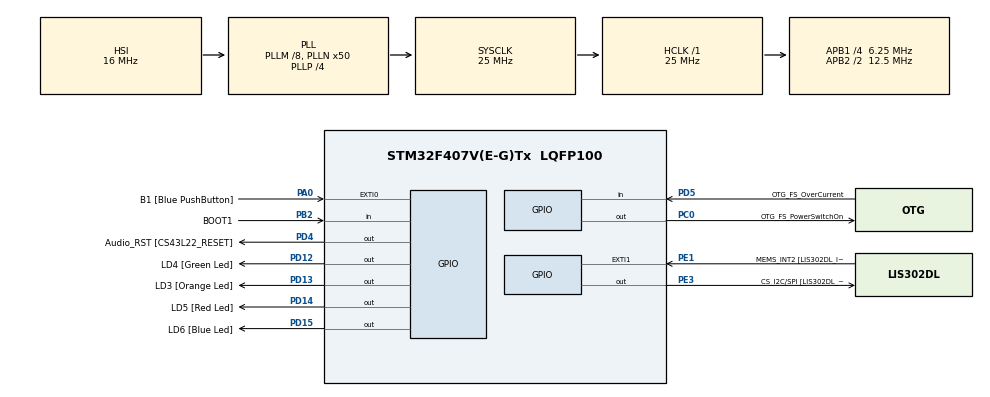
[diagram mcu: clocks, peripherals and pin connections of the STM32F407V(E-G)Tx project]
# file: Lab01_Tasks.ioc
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Mcu.Family=STM32F4
PA11.GPIO_Speed=GPIO_SPEED_FREQ_LOW
PC3.GPIO_Mode=GPIO_MODE_AF_PP
PD12.GPIO_Label=LD4 [Green Led]
PH0-OSC_IN.Signal=RCC_OSC_IN
VP_SYS_VS_tim6.Mode=TIM6
RCC.CortexFreq_Value=25000000
PC10.GPIO_PuPd=GPIO_NOPULL
PB10.GPIO_Speed=GPIO_SPEED_FREQ_LOW
PB6.GPIO_Mode=GPIO_MODE_AF_OD
PB10.GPIO_PuPd=GPIO_NOPULL
NVIC.TIM6_DAC_IRQn=true\:0\:0\:false\:false\:true\:false\:true
PA10.GPIO_PuPd=GPIO_NOPULL
PD15.GPIO_Speed=GPIO_SPEED_FREQ_LOW
PC10.Signal=I2S3_CK
PC12.Signal=I2S3_SD
PA14.GPIO_Label=SWCLK
PA7.GPIO_Mode=GPIO_MODE_AF_PP
PC0.GPIO_Label=OTG_FS_PowerSwitchOn
PA6.GPIO_Label=SPI1_MISO [LIS302DL_SDO]
PB6.GPIO_Label=Audio_SCL [CS43L22_SCL]
PC10.GPIO_Speed=GPIO_SPEED_FREQ_LOW
PA11.GPIO_PuPd=GPIO_NOPULL
PC15-OSC32_OUT.GPIO_Label=PC15-OSC32_OUT
PC3.GPIO_Speed=GPIO_SPEED_FREQ_LOW
RCC.SYSCLKSource=RCC_SYSCLKSOURCE_PLLCLK
ProjectManager.StackSize=0x400
PA6.GPIO_Mode=GPIO_MODE_AF_PP
PD13.Signal=GPIO_Output
PD14.GPIO_Speed=GPIO_SPEED_FREQ_LOW
PA12.Signal=USB_OTG_FS_DP
RCC.HCLKFreq_Value=25000000
PD4.Signal=GPIO_Output
RCC.APB2TimFreq_Value=25000000
PB6.Signal=I2C1_SCL
PC7.Signal=I2S3_MCK
PC3.Signal=I2S2_SD
PE1.Signal=GPXTI1
RCC.AHBFreq_Value=25000000
PH0-OSC_IN.GPIO_Label=PH0-OSC_IN
PA9.GPIO_Mode=GPIO_MODE_INPUT
RCC.HSE_VALUE=8000000
PA4.GPIO_PuPd=GPIO_NOPULL
PB2.Signal=GPIO_Input
PA4.GPIO_Speed=GPIO_SPEED_FREQ_LOW
PA6.GPIO_PuPd=GPIO_NOPULL
PA5.GPIO_PuPd=GPIO_NOPULL
PA10.GPIO_Label=OTG_FS_ID
PC7.GPIO_Mode=GPIO_MODE_AF_PP
PD5.GPIO_Mode=GPIO_MODE_INPUT
PD14.GPIO_PuPd=GPIO_NOPULL
PB2.GPIO_PuPd=GPIO_NOPULL
PD13.GPIO_Label=LD3 [Orange Led]
Mcu.Package=LQFP100
PB9.Signal=I2C1_SDA
PA6.Signal=SPI1_MISO
NVIC.TimeBase=TIM6_DAC_IRQn
PD12.Signal=GPIO_Output
PD5.GPIO_Label=OTG_FS_OverCurrent
PD15.GPIO_PuPd=GPIO_NOPULL
NVIC.TimeBaseIP=TIM6
PA10.Signal=USB_OTG_FS_ID
PB9.GPIO_PuPd=GPIO_NOPULL
PA10.GPIO_Speed=GPIO_SPEED_FREQ_LOW
RCC.APB2CLKDivider=RCC_HCLK_DIV2
PB9.GPIO_Speed=GPIO_SPEED_FREQ_LOW
RCC.APB1TimFreq_Value=12500000
PC14-OSC32_IN.GPIO_Label=PC14-OSC32_IN
PC12.GPIO_PuPd=GPIO_NOPULL
PA6.GPIO_Speed=GPIO_SPEED_FREQ_LOW
PC0.GPIO_PuPd=GPIO_NOPULL
PA12.GPIO_PuPd=GPIO_NOPULL
PA4.GPIO_Label=I2S3_WS [CS43L22_LRCK]
PD15.Signal=GPIO_Output
PC0.PinState=GPIO_PIN_SET
PA12.GPIO_Speed=GPIO_SPEED_FREQ_LOW
PB3.GPIO_Label=SWO
PD12.GPIO_Speed=GPIO_SPEED_FREQ_LOW
PD15.GPIO_Label=LD6 [Blue Led]
PB9.GPIO_Label=Audio_SDA [CS43L22_SDA]
PC10.GPIO_Label=I2S3_SCK [CS43L22_SCLK]
PA9.GPIO_Label=VBUS_FS
PB6.GPIO_PuPd=GPIO_NOPULL
PA11.GPIO_Label=OTG_FS_DM
PE1.GPIO_PuPd=GPIO_NOPULL
PD5.Signal=GPIO_Input
PC0.Signal=GPIO_Output
PE1.GPIO_ModeDefaultEXTI=GPIO_MODE_EVT_RISING
RCC.APB1CLKDivider=RCC_HCLK_DIV4
PC14-OSC32_IN.Signal=RCC_OSC32_IN
PA9.GPIO_PuPd=GPIO_NOPULL
PA12.GPIO_Label=OTG_FS_DP
PA0-WKUP.GPIO_Label=B1 [Blue PushButton]
PA0-WKUP.Signal=GPXTI0
PA10.GPIO_Mode=GPIO_MODE_AF_PP
PA13.Signal=SYS_JTMS-SWDIO
PC10.GPIO_Mode=GPIO_MODE_AF_PP
PD4.GPIO_PuPd=GPIO_NOPULL
PC0.GPIO_Speed=GPIO_SPEED_FREQ_LOW
PB10.GPIO_Mode=GPIO_MODE_AF_PP
ProjectManager.TargetToolchain=STM32CubeIDE
PB10.GPIO_Label=CLK_IN [MP45DT02_CLK]
PA9.Signal=USB_OTG_FS_VBUS
PC7.GPIO_PuPd=GPIO_NOPULL
RCC.LSE_VALUE=32768
PC15-OSC32_OUT.Signal=RCC_OSC32_OUT
PA7.GPIO_PuPd=GPIO_NOPULL
PB10.Signal=I2S2_CK
PA5.Signal=SPI1_SCK
board=STM32F407G-DISC1
PD13.GPIO_Speed=GPIO_SPEED_FREQ_LOW
PC7.GPIO_Speed=GPIO_SPEED_FREQ_LOW
RCC.VCOOutputFreq_Value=100000000
PE1.GPIO_Label=MEMS_INT2 [LIS302DL_INT2]
PA7.GPIO_Speed=GPIO_SPEED_FREQ_LOW
PB9.GPIO_Mode=GPIO_MODE_AF_OD
PA12.GPIO_Mode=GPIO_MODE_AF_PP
PA4.GPIO_Mode=GPIO_MODE_AF_PP
RCC.APB2Freq_Value=12500000
PB2.GPIO_Mode=GPIO_MODE_INPUT
PD4.GPIO_Label=Audio_RST [CS43L22_RESET]
PD4.GPIO_Speed=GPIO_SPEED_FREQ_LOW
PE3.GPIO_PuPd=GPIO_NOPULL
PH1-OSC_OUT.Signal=RCC_OSC_OUT
PD13.GPIO_PuPd=GPIO_NOPULL
PD5.GPIO_PuPd=GPIO_NOPULL
PD14.GPIO_Label=LD5 [Red Led]
PH1-OSC_OUT.GPIO_Label=PH1-OSC_OUT
Mcu.Name=STM32F407V(E-G)Tx
PA13.GPIO_Label=SWDIO
PC7.GPIO_Label=I2S3_MCK [CS43L22_MCLK]
PD14.Signal=GPIO_Output
RCC.48MHZClocksFreq_Value=14285714.285714285
PB3.Signal=SYS_JTDO-SWO
PA4.Signal=I2S3_WS
RCC.SYSCLKFreq_VALUE=25000000
PC12.GPIO_Mode=GPIO_MODE_AF_PP
PA7.GPIO_Label=SPI1_MOSI [LIS302DL_SDA/SDI/SDO]
PA5.GPIO_Label=SPI1_SCK [LIS302DL_SCL/SPC]
PE3.GPIO_Speed=GPIO_SPEED_FREQ_LOW
PC12.GPIO_Label=I2S3_SD [CS43L22_SDIN]
PA11.Signal=USB_OTG_FS_DM
PA14.Signal=SYS_JTCK-SWCLK
PB2.GPIO_Label=BOOT1
ProjectManager.HeapSize=0x200
RCC.HSI_VALUE=16000000
RCC.PLLP=RCC_PLLP_DIV4
PA5.GPIO_Speed=GPIO_SPEED_FREQ_LOW
RCC.PLLQ=7
NVIC.PriorityGroup=NVIC_PRIORITYGROUP_4
RCC.PLLM=8
RCC.PLLN=50
PE3.Signal=GPIO_Output
PE3.GPIO_Label=CS_I2C/SPI [LIS302DL_CS_I2C/SPI]
PC3.GPIO_Label=PDM_OUT [MP45DT02_DOUT]
PA11.GPIO_Mode=GPIO_MODE_AF_PP
PB6.GPIO_Speed=GPIO_SPEED_FREQ_LOW
RCC.APB1Freq_Value=6250000
PA5.GPIO_Mode=GPIO_MODE_AF_PP
PC12.GPIO_Speed=GPIO_SPEED_FREQ_LOW
PC3.GPIO_PuPd=GPIO_NOPULL
PD12.GPIO_PuPd=GPIO_NOPULL
PA7.Signal=SPI1_MOSI

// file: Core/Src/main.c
/* USER CODE BEGIN Header */
/**
  ******************************************************************************
  * @file           : main.c
  * @brief          : Main program body
  ******************************************************************************
  * @attention
  *
  * <h2><center>&copy; Copyright (c) 2021 STMicroelectronics.
  * All rights reserved.</center></h2>
  *
  * This software component is licensed by ST under BSD 3-Clause license,
  * the "License"; You may not use this file except in compliance with the
  * License. You may obtain a copy of the License at:
  *                        opensource.org/licenses/BSD-3-Clause
  *
  ******************************************************************************
  */
/* USER CODE END Header */
#include "main.h"

/* USER CODE BEGIN Includes */
#include <stdio.h>
#include "FreeRTOS.h"
#include "task.h"
/* USER CODE END Includes */

/* USER CODE BEGIN PV */
#define DWT_CTRL	(*(volatile uint32_t *)0xE0001000)
/* USER CODE END PV */

void SystemClock_Config(void);
static void MX_GPIO_Init(void);
/* USER CODE BEGIN PFP */
static void task1_handler(void *parameter);
static void task2_handler(void *parameter);
/* USER CODE END PFP */

int main(void)
{
  /* USER CODE BEGIN 1 */
  TaskHandle_t task1_handle;
  TaskHandle_t task2_handle;

  BaseType_t status;
  /* USER CODE END 1 */

  /* MCU Configuration--------------------------------------------------------*/

  /* Reset of all peripherals, Initializes the Flash interface and the Systick. */
  HAL_Init();

  /* Configure the system clock */
  SystemClock_Config();

  /* Initialize all configured peripherals */
  MX_GPIO_Init();
  /* USER CODE BEGIN 2 */

  // Enable the CYCCNT counter
  DWT_CTRL |= (1 << 0);

  SEGGER_SYSVIEW_Conf();
  SEGGER_SYSVIEW_Start();

  status = xTaskCreate(task1_handler, "Task1", 200, "Hello world form Task-1", 2, &task1_handle);
  configASSERT(status == pdPASS);

  status = xTaskCreate(task2_handler, "Task2", 200, "Hello world form Task-2", 2, &task2_handle);
  configASSERT(status == pdPASS);

  //start the freeRTOS scheduler
  vTaskStartScheduler();
  /* USER CODE END 2 */

  /* Infinite loop */
  while (1)
  {

  }
}

void SystemClock_Config(void)
{
  RCC_OscInitTypeDef RCC_OscInitStruct = {0};
  RCC_ClkInitTypeDef RCC_ClkInitStruct = {0};

  /** Configure the main internal regulator output voltage
  */
  __HAL_RCC_PWR_CLK_ENABLE();
  __HAL_PWR_VOLTAGESCALING_CONFIG(PWR_REGULATOR_VOLTAGE_SCALE1);
  /** Initializes the RCC Oscillators according to the specified parameters
  * in the RCC_OscInitTypeDef structure.
  */
  RCC_OscInitStruct.OscillatorType = RCC_OSCILLATORTYPE_HSI;
  RCC_OscInitStruct.HSIState = RCC_HSI_ON;
  RCC_OscInitStruct.HSICalibrationValue = RCC_HSICALIBRATION_DEFAULT;
  RCC_OscInitStruct.PLL.PLLState = RCC_PLL_ON;
  RCC_OscInitStruct.PLL.PLLSource = RCC_PLLSOURCE_HSI;
  RCC_OscInitStruct.PLL.PLLM = 8;
  RCC_OscInitStruct.PLL.PLLN = 50;
  RCC_OscInitStruct.PLL.PLLP = RCC_PLLP_DIV4;
  RCC_OscInitStruct.PLL.PLLQ = 7;
  if (HAL_RCC_OscConfig(&RCC_OscInitStruct) != HAL_OK)
  {
    Error_Handler();
  }
  /** Initializes the CPU, AHB and APB buses clocks
  */
  RCC_ClkInitStruct.ClockType = RCC_CLOCKTYPE_HCLK|RCC_CLOCKTYPE_SYSCLK
                              |RCC_CLOCKTYPE_PCLK1|RCC_CLOCKTYPE_PCLK2;
  RCC_ClkInitStruct.SYSCLKSource = RCC_SYSCLKSOURCE_PLLCLK;
  RCC_ClkInitStruct.AHBCLKDivider = RCC_SYSCLK_DIV1;
  RCC_ClkInitStruct.APB1CLKDivider = RCC_HCLK_DIV4;
  RCC_ClkInitStruct.APB2CLKDivider = RCC_HCLK_DIV2;

  if (HAL_RCC_ClockConfig(&RCC_ClkInitStruct, FLASH_LATENCY_0) != HAL_OK)
  {
    Error_Handler();
  }
}

static void MX_GPIO_Init(void)
{
  GPIO_InitTypeDef GPIO_InitStruct = {0};

  /* GPIO Ports Clock Enable */
  __HAL_RCC_GPIOE_CLK_ENABLE();
  __HAL_RCC_GPIOC_CLK_ENABLE();
  __HAL_RCC_GPIOH_CLK_ENABLE();
  __HAL_RCC_GPIOA_CLK_ENABLE();
  __HAL_RCC_GPIOB_CLK_ENABLE();
  __HAL_RCC_GPIOD_CLK_ENABLE();

  /*Configure GPIO pin Output Level */
  HAL_GPIO_WritePin(CS_I2C_SPI_GPIO_Port, CS_I2C_SPI_Pin, GPIO_PIN_RESET);

  /*Configure GPIO pin Output Level */
  HAL_GPIO_WritePin(OTG_FS_PowerSwitchOn_GPIO_Port, OTG_FS_PowerSwitchOn_Pin, GPIO_PIN_SET);

  /*Configure GPIO pin Output Level */
  HAL_GPIO_WritePin(GPIOD, LD4_Pin|LD3_Pin|LD5_Pin|LD6_Pin
                          |Audio_RST_Pin, GPIO_PIN_RESET);

  /*Configure GPIO pin : CS_I2C_SPI_Pin */
  GPIO_InitStruct.Pin = CS_I2C_SPI_Pin;
  GPIO_InitStruct.Mode = GPIO_MODE_OUTPUT_PP;
  GPIO_InitStruct.Pull = GPIO_NOPULL;
  GPIO_InitStruct.Speed = GPIO_SPEED_FREQ_LOW;
  HAL_GPIO_Init(CS_I2C_SPI_GPIO_Port, &GPIO_InitStruct);

  /*Configure GPIO pin : OTG_FS_PowerSwitchOn_Pin */
  GPIO_InitStruct.Pin = OTG_FS_PowerSwitchOn_Pin;
  GPIO_InitStruct.Mode = GPIO_MODE_OUTPUT_PP;
  GPIO_InitStruct.Pull = GPIO_NOPULL;
  GPIO_InitStruct.Speed = GPIO_SPEED_FREQ_LOW;
  HAL_GPIO_Init(OTG_FS_PowerSwitchOn_GPIO_Port, &GPIO_InitStruct);

  /*Configure GPIO pin : PDM_OUT_Pin */
  GPIO_InitStruct.Pin = PDM_OUT_Pin;
  GPIO_InitStruct.Mode = GPIO_MODE_AF_PP;
  GPIO_InitStruct.Pull = GPIO_NOPULL;
  GPIO_InitStruct.Speed = GPIO_SPEED_FREQ_LOW;
  GPIO_InitStruct.Alternate = GPIO_AF5_SPI2;
  HAL_GPIO_Init(PDM_OUT_GPIO_Port, &GPIO_InitStruct);

  /*Configure GPIO pin : B1_Pin */
  GPIO_InitStruct.Pin = B1_Pin;
  GPIO_InitStruct.Mode = GPIO_MODE_IT_RISING;
  GPIO_InitStruct.Pull = GPIO_NOPULL;
  HAL_GPIO_Init(B1_GPIO_Port, &GPIO_InitStruct);

  /*Configure GPIO pin : I2S3_WS_Pin */
  GPIO_InitStruct.Pin = I2S3_WS_Pin;
  GPIO_InitStruct.Mode = GPIO_MODE_AF_PP;
  GPIO_InitStruct.Pull = GPIO_NOPULL;
  GPIO_InitStruct.Speed = GPIO_SPEED_FREQ_LOW;
  GPIO_InitStruct.Alternate = GPIO_AF6_SPI3;
  HAL_GPIO_Init(I2S3_WS_GPIO_Port, &GPIO_InitStruct);

  /*Configure GPIO pins : SPI1_SCK_Pin SPI1_MISO_Pin SPI1_MOSI_Pin */
  GPIO_InitStruct.Pin = SPI1_SCK_Pin|SPI1_MISO_Pin|SPI1_MOSI_Pin;
  GPIO_InitStruct.Mode = GPIO_MODE_AF_PP;
  GPIO_InitStruct.Pull = GPIO_NOPULL;
  GPIO_InitStruct.Speed = GPIO_SPEED_FREQ_LOW;
  GPIO_InitStruct.Alternate = GPIO_AF5_SPI1;
  HAL_GPIO_Init(GPIOA, &GPIO_InitStruct);

  /*Configure GPIO pin : BOOT1_Pin */
  GPIO_InitStruct.Pin = BOOT1_Pin;
  GPIO_InitStruct.Mode = GPIO_MODE_INPUT;
  GPIO_InitStruct.Pull = GPIO_NOPULL;
  HAL_GPIO_Init(BOOT1_GPIO_Port, &GPIO_InitStruct);

  /*Configure GPIO pin : CLK_IN_Pin */
  GPIO_InitStruct.Pin = CLK_IN_Pin;
  GPIO_InitStruct.Mode = GPIO_MODE_AF_PP;
  GPIO_InitStruct.Pull = GPIO_NOPULL;
  GPIO_InitStruct.Speed = GPIO_SPEED_FREQ_LOW;
  GPIO_InitStruct.Alternate = GPIO_AF5_SPI2;
  HAL_GPIO_Init(CLK_IN_GPIO_Port, &GPIO_InitStruct);

  /*Configure GPIO pins : LD4_Pin LD3_Pin LD5_Pin LD6_Pin
                           Audio_RST_Pin */
  GPIO_InitStruct.Pin = LD4_Pin|LD3_Pin|LD5_Pin|LD6_Pin
                          |Audio_RST_Pin;
  GPIO_InitStruct.Mode = GPIO_MODE_OUTPUT_PP;
  GPIO_InitStruct.Pull = GPIO_NOPULL;
  GPIO_InitStruct.Speed = GPIO_SPEED_FREQ_LOW;
  HAL_GPIO_Init(GPIOD, &GPIO_InitStruct);

  /*Configure GPIO pins : I2S3_MCK_Pin I2S3_SCK_Pin I2S3_SD_Pin */
  GPIO_InitStruct.Pin = I2S3_MCK_Pin|I2S3_SCK_Pin|I2S3_SD_Pin;
  GPIO_InitStruct.Mode = GPIO_MODE_AF_PP;
  GPIO_InitStruct.Pull = GPIO_NOPULL;
  GPIO_InitStruct.Speed = GPIO_SPEED_FREQ_LOW;
  GPIO_InitStruct.Alternate = GPIO_AF6_SPI3;
  HAL_GPIO_Init(GPIOC, &GPIO_InitStruct);

  /*Configure GPIO pin : VBUS_FS_Pin */
  GPIO_InitStruct.Pin = VBUS_FS_Pin;
  GPIO_InitStruct.Mode = GPIO_MODE_INPUT;
  GPIO_InitStruct.Pull = GPIO_NOPULL;
  HAL_GPIO_Init(VBUS_FS_GPIO_Port, &GPIO_InitStruct);

  /*Configure GPIO pins : OTG_FS_ID_Pin OTG_FS_DM_Pin OTG_FS_DP_Pin */
  GPIO_InitStruct.Pin = OTG_FS_ID_Pin|OTG_FS_DM_Pin|OTG_FS_DP_Pin;
  GPIO_InitStruct.Mode = GPIO_MODE_AF_PP;
  GPIO_InitStruct.Pull = GPIO_NOPULL;
  GPIO_InitStruct.Speed = GPIO_SPEED_FREQ_LOW;
  GPIO_InitStruct.Alternate = GPIO_AF10_OTG_FS;
  HAL_GPIO_Init(GPIOA, &GPIO_InitStruct);

  /*Configure GPIO pin : OTG_FS_OverCurrent_Pin */
  GPIO_InitStruct.Pin = OTG_FS_OverCurrent_Pin;
  GPIO_InitStruct.Mode = GPIO_MODE_INPUT;
  GPIO_InitStruct.Pull = GPIO_NOPULL;
  HAL_GPIO_Init(OTG_FS_OverCurrent_GPIO_Port, &GPIO_InitStruct);

  /*Configure GPIO pins : Audio_SCL_Pin Audio_SDA_Pin */
  GPIO_InitStruct.Pin = Audio_SCL_Pin|Audio_SDA_Pin;
  GPIO_InitStruct.Mode = GPIO_MODE_AF_OD;
  GPIO_InitStruct.Pull = GPIO_PULLUP;
  GPIO_InitStruct.Speed = GPIO_SPEED_FREQ_LOW;
  GPIO_InitStruct.Alternate = GPIO_AF4_I2C1;
  HAL_GPIO_Init(GPIOB, &GPIO_InitStruct);

  /*Configure GPIO pin : MEMS_INT2_Pin */
  GPIO_InitStruct.Pin = MEMS_INT2_Pin;
  GPIO_InitStruct.Mode = GPIO_MODE_EVT_RISING;
  GPIO_InitStruct.Pull = GPIO_NOPULL;
  HAL_GPIO_Init(MEMS_INT2_GPIO_Port, &GPIO_InitStruct);

}

/* USER CODE BEGIN 4 */
static void task1_handler(void *parameter)
{
	while (1) {
		printf("%s\n", (char *)parameter);
		taskYIELD();
	}
}

static void task2_handler(void *parameter)
{
	while (1) {
		printf("%s\n", (char *)parameter);
		taskYIELD();
	}
}
/* USER CODE END 4 */

 /**
  * @brief  Period elapsed callback in non blocking mode
  * @note   This function is called  when TIM6 interrupt took place, inside
  * HAL_TIM_IRQHandler(). It makes a direct call to HAL_IncTick() to increment
  * a global variable "uwTick" used as application time base.
  * @param  htim : TIM handle
  * @retval None
  */
void HAL_TIM_PeriodElapsedCallback(TIM_HandleTypeDef *htim)
{
  if (htim->Instance == TIM6) {
    HAL_IncTick();
  }
}

void Error_Handler(void)
{
  __disable_irq();
  while (1)
  {
  }
}

/************************ (C) COPYRIGHT STMicroelectronics *****END OF FILE****/
